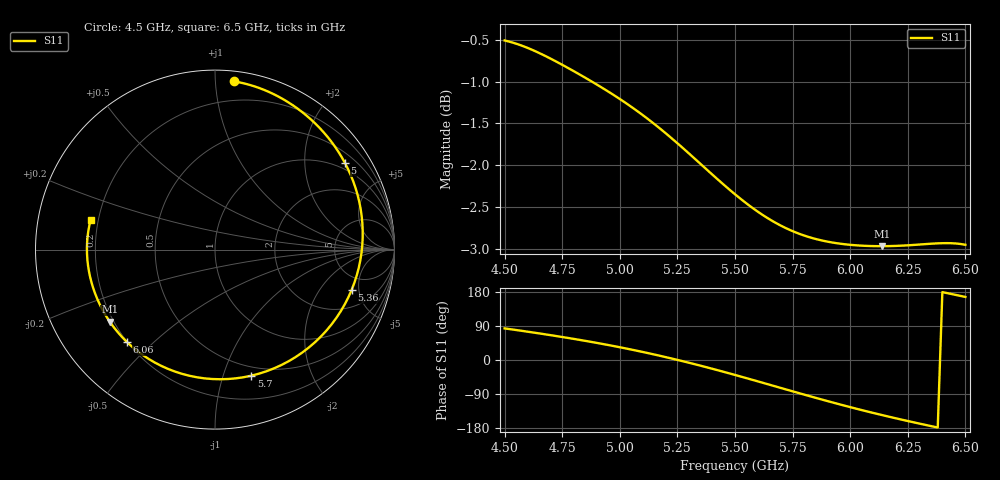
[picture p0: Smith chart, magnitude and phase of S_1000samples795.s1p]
! TOUCHSTONE file generated by CST MICROWAVE STUDIO
! Date and time: Sat Oct 29 10:04:41 2022
! Project name: L.cst
! Parameters = {Di=1.27; Epsilon_r=1.56; InnerDiameter=1.27; Length=2; Lf=10; Lg=60; OuterConductorThickness=0.2921; OuterDiameter=3.6; Wf=3; Wp=41.2; de=1.5; df=6.8; g=0.8; gx=3.75068; gy=2.11293; h=2.34; hf=1.524; px=11.2541; py=11.0079; w=9.7; wx=7.50347; wy=8.89495}
! Header version: 2018
! Port assignment regex: !\s*Touchstone port\s*([0-9]+)\s*=\s*(CST MWS port|CST DS port)\s*([0-9]+|Zmin|Zmax)\s*\(\"(.*)\"\)(\s*mode\s*([0-9]+))?.*
! Touchstone port assignment:
! Touchstone port 1 = CST MWS port 1 ("")
# GHz S DB R 50
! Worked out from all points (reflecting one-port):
!   101 points, 4.5 GHz to 6.5 GHz, reference 50 ohm
!   lowest |S11| = -3.0 dB at 6.14 GHz (marker M1), VSWR 5.91, Z = 9.24 - j15 ohm
!   phase of S11 starts at 83 deg and turns -277 deg over the sweep
!   S11 on the Smith chart (normalised r, x): 4.5 GHz: 0.07, +1.12; 5 GHz: 0.79, +3.13; 5.36 GHz: 3.42, -4.17; 5.7 GHz: 0.41, -1.24; 6.06 GHz: 0.20, -0.41; 6.5 GHz: 0.17, +0.12
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4.5  -0.51 83.4
4.62  -0.62 72.9
4.76  -0.81 59.7
4.88  -1.00 47.3
5  -1.21 33.6
5.08  -1.36 23.7
5.14  -1.49 15.8
5.2  -1.62 7.5
5.26  -1.76 -1.2
5.36  -2.01 -16.5
5.42  -2.16 -26.2
5.5  -2.35 -39.4
5.6  -2.56 -56.6
5.66  -2.66 -67.0
5.7  -2.72 -74.0
5.76  -2.80 -84.4
5.82  -2.86 -94.7
5.88  -2.90 -104.8
5.94  -2.93 -114.7
6  -2.95 -124.4
6.06  -2.96 -133.7
6.14  -2.97 -145.6
6.2  -2.96 -154.1
6.26  -2.95 -162.4
6.32  -2.94 -170.4
6.38  -2.93 -178.2
6.44  -2.93 174.1
6.5  -2.95 166.4
